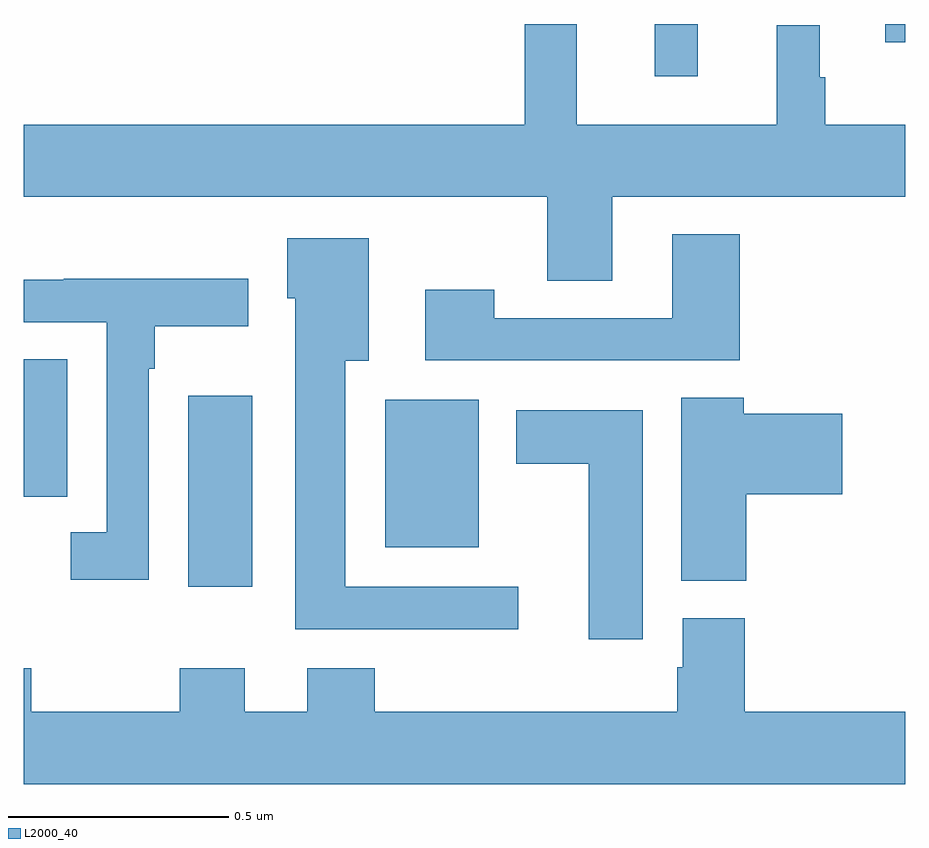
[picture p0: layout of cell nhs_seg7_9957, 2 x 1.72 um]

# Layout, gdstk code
import gdstk
lib = gdstk.Library(unit=1e-6, precision=1e-09)
def R(c, l, rs):  # rectangles x0, y0, x1, y1
    for r in rs: c.add(gdstk.rectangle(r[:2], r[2:], *l))
def P(c, l, *ps):  # polygons
    for p in ps: c.add(gdstk.Polygon(p, *l))
L2000_40 = (2000, 40)

nhs_seg7_9957 = lib.new_cell('nhs_seg7_9957')
R(nhs_seg7_9957, L2000_40, [(244.373,1007.723,244.519,1008.157), (244.82,1007.813,245.032,1008.148), (244,1007.928,244.099,1008.239), (245.432,1008.882,245.529,1009), (245.955,1008.959,246,1009)])
P(nhs_seg7_9957, L2000_40, [(245.335,1008.608),(246,1008.608),(246,1008.772),(245.818,1008.772),(245.818,1008.879),(245.806,1008.879),(245.806,1008.997),(245.708,1008.997),(245.708,1008.772),(245.255,1008.772),(245.255,1009),(245.137,1009),(245.137,1008.772),(244,1008.772),(244,1008.608),(245.188,1008.608),(245.188,1008.418),(245.335,1008.418)],
  [(245.624,1008.523),(245.471,1008.523),(245.471,1008.333),(245.067,1008.333),(245.067,1008.397),(244.911,1008.397),(244.911,1008.237),(245.624,1008.237)],
  [(245.122,1007.724),(244.729,1007.724),(244.729,1008.236),(244.783,1008.236),(244.783,1008.514),(244.598,1008.514),(244.598,1008.378),(244.616,1008.378),(244.616,1007.627),(245.122,1007.627)],
  [(244.284,1008.218),(244.297,1008.218),(244.297,1008.314),(244.51,1008.314),(244.51,1008.422),(244.091,1008.422),(244.091,1008.42),(244,1008.42),(244,1008.324),(244.188,1008.324),(244.188,1007.847),(244.107,1007.847),(244.107,1007.739),(244.284,1007.739)],
  [(245.639,1007.933),(245.857,1007.933),(245.857,1008.116),(245.634,1008.116),(245.634,1008.152),(245.492,1008.152),(245.492,1007.737),(245.639,1007.737)],
  [(245.404,1008.124),(245.117,1008.124),(245.117,1008.002),(245.282,1008.002),(245.282,1007.604),(245.404,1007.604)],
  [(246,1007.44),(245.636,1007.44),(245.636,1007.652),(245.495,1007.652),(245.495,1007.541),(245.483,1007.541),(245.483,1007.44),(244.796,1007.44),(244.796,1007.539),(244.643,1007.539),(244.643,1007.44),(244.501,1007.44),(244.501,1007.539),(244.354,1007.539),(244.354,1007.44),(244.017,1007.44),(244.017,1007.539),(244,1007.539),(244,1007.276),(246,1007.276)])

lib.write_gds('nhs_seg7_9957.gds')
